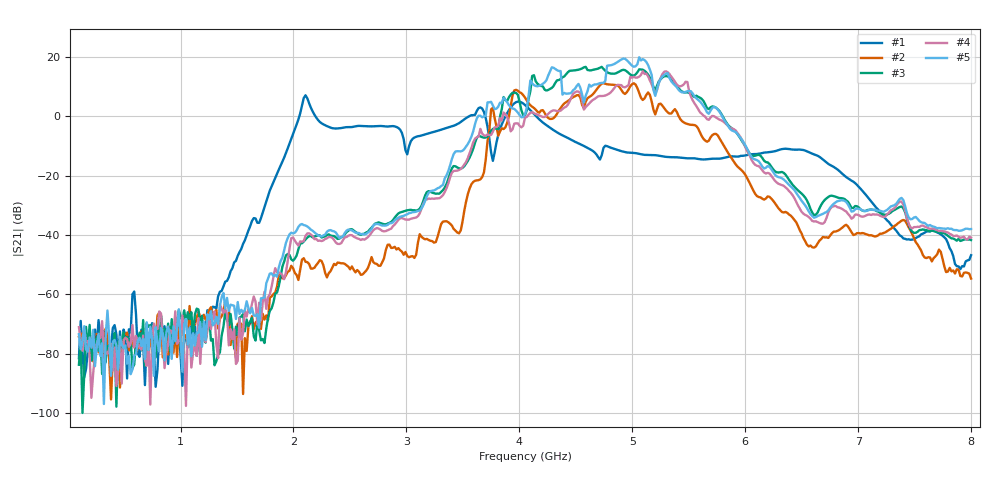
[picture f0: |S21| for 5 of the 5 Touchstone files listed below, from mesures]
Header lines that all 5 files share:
!Agilent Technologies,E5071C,MY46214845,A.10.06
!Data & Calibration Information:
!Freq	S11:SOLT2(ON)	S21:SOLT2(ON)	S12:SOLT2(ON)	S22:SOLT2(ON)
!PortZ  Port1:50+j0  Port2:50+j0
!Above PortZ is port z conversion or system Z0 setting when saving the data.
!When reading, reference impedance value at option line is always used.
# Hz S dB R 50
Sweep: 100 MHz to 8 GHz
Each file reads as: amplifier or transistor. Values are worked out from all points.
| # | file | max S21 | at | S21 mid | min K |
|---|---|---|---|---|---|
| 1 | PROJET.S2P | 7.0 dB | 2.107 GHz | 3.8 dB at 4.05 GHz | -97356.43 |
| 2 | PROJETBEST.S2P | 11.1 dB | 4.745 GHz | 6.2 dB at 4.05 GHz | -30895.41 |
| 3 | PROJETCC10K.S2P | 16.6 dB | 4.729 GHz | 0.3 dB at 4.05 GHz | -37269.19 |
| 4 | PROJETCC.S2P | 15.1 dB | 5.298 GHz | -0.5 dB at 4.05 GHz | -140435.40 |
| 5 | PROJETCCmm.S2P | 19.8 dB | 5.061 GHz | 0.6 dB at 4.05 GHz | -2236108867.75 |
